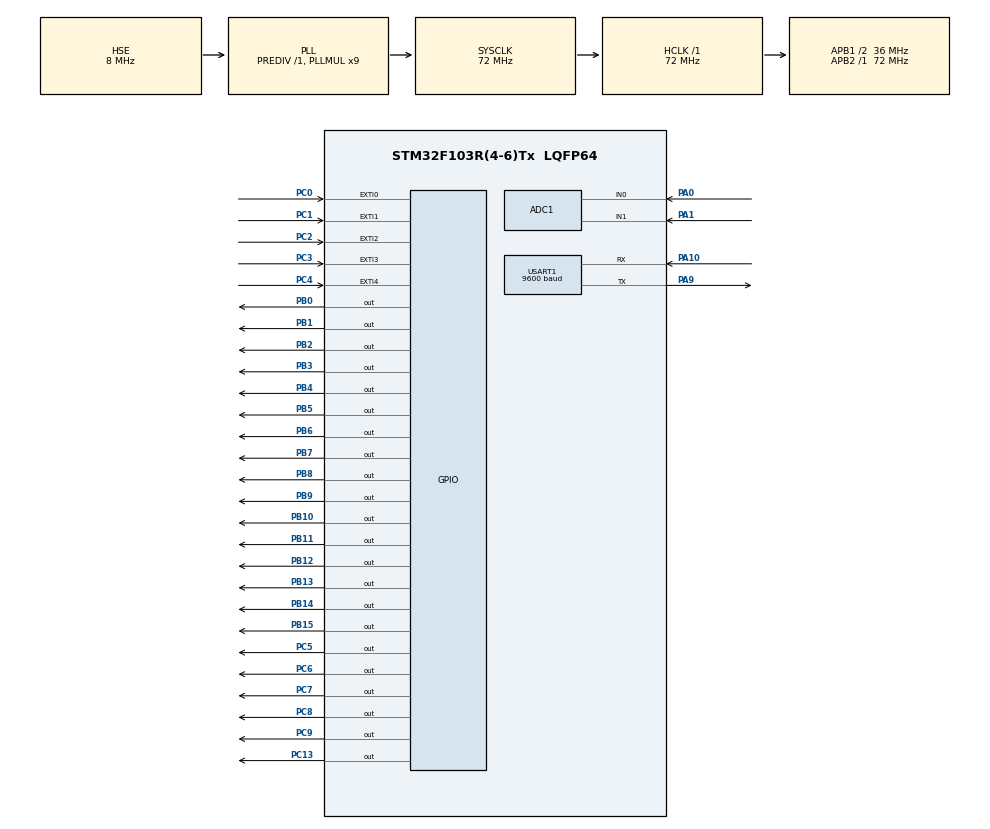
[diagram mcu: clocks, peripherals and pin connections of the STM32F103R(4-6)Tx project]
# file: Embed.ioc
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ADC1.Channel-1\#ChannelRegularConversion=ADC_CHANNEL_0
ADC1.Channel-2\#ChannelRegularConversion=ADC_CHANNEL_1
ADC1.ContinuousConvMode=DISABLE
ADC1.DiscontinuousConvMode=DISABLE
ADC1.NbrOfConversion=2
ADC1.NbrOfConversionFlag=1
ADC1.Rank-1\#ChannelRegularConversion=1
ADC1.Rank-2\#ChannelRegularConversion=2
ADC1.SamplingTime-1\#ChannelRegularConversion=ADC_SAMPLETIME_1CYCLE_5
ADC1.SamplingTime-2\#ChannelRegularConversion=ADC_SAMPLETIME_1CYCLE_5
ADC1.master=1
Dma.ADC1.0.Direction=DMA_PERIPH_TO_MEMORY
Dma.ADC1.0.Instance=DMA1_Channel1
Dma.ADC1.0.MemDataAlignment=DMA_MDATAALIGN_WORD
Dma.ADC1.0.MemInc=DMA_MINC_ENABLE
Dma.ADC1.0.Mode=DMA_CIRCULAR
Dma.ADC1.0.PeriphDataAlignment=DMA_PDATAALIGN_WORD
Dma.ADC1.0.PeriphInc=DMA_PINC_DISABLE
Dma.ADC1.0.Priority=DMA_PRIORITY_MEDIUM
Dma.Request0=ADC1
Mcu.Family=STM32F1
Mcu.Name=STM32F103R(4-6)Tx
Mcu.Package=LQFP64
NVIC.ADC1_2_IRQn=true\:1\:0\:true\:true\:true\:6\:true\:true\:true
NVIC.DMA1_Channel1_IRQn=true\:2\:0\:true\:true\:true\:7\:false\:true\:true
NVIC.EXTI0_IRQn=true\:0\:0\:false\:true\:true\:1\:true\:true\:true
NVIC.EXTI1_IRQn=true\:0\:0\:false\:true\:true\:2\:true\:true\:true
NVIC.EXTI2_IRQn=true\:0\:0\:false\:true\:true\:3\:true\:true\:true
NVIC.EXTI3_IRQn=true\:0\:0\:false\:true\:true\:4\:true\:true\:true
NVIC.EXTI4_IRQn=true\:0\:0\:false\:true\:true\:5\:true\:true\:true
NVIC.PriorityGroup=NVIC_PRIORITYGROUP_4
NVIC.TIM2_IRQn=true\:0\:0\:false\:true\:true\:8\:true\:true\:true
NVIC.TIM3_IRQn=true\:0\:0\:true\:true\:true\:9\:true\:true\:true
NVIC.USART1_IRQn=true\:3\:0\:true\:true\:true\:10\:true\:true\:true
PA0-WKUP.Signal=ADCx_IN0
PA1.Signal=ADCx_IN1
PA10.Mode=Asynchronous
PA10.Signal=USART1_RX
PA13.Mode=Serial_Wire
PA13.Signal=SYS_JTMS-SWDIO
PA14.Mode=Serial_Wire
PA14.Signal=SYS_JTCK-SWCLK
PA9.Mode=Asynchronous
PA9.Signal=USART1_TX
PB0.Signal=GPIO_Output
PB1.Signal=GPIO_Output
PB10.Signal=GPIO_Output
PB11.Signal=GPIO_Output
PB12.Signal=GPIO_Output
PB13.Signal=GPIO_Output
PB14.Signal=GPIO_Output
PB15.Signal=GPIO_Output
PB2.Signal=GPIO_Output
PB3.Signal=GPIO_Output
PB4.Signal=GPIO_Output
PB5.Signal=GPIO_Output
PB6.Signal=GPIO_Output
PB7.Signal=GPIO_Output
PB8.Signal=GPIO_Output
PB9.Signal=GPIO_Output
PC0.GPIO_PuPd=GPIO_PULLDOWN
PC0.Signal=GPXTI0
PC1.GPIO_PuPd=GPIO_PULLDOWN
PC1.Signal=GPXTI1
PC13-TAMPER-RTC.GPIO_PuPd=GPIO_PULLUP
PC13-TAMPER-RTC.Signal=GPIO_Output
PC14-OSC32_IN.Mode=LSE-External-Oscillator
PC14-OSC32_IN.Signal=RCC_OSC32_IN
PC15-OSC32_OUT.Mode=LSE-External-Oscillator
PC15-OSC32_OUT.Signal=RCC_OSC32_OUT
PC2.GPIO_PuPd=GPIO_PULLDOWN
PC2.Signal=GPXTI2
PC3.GPIO_PuPd=GPIO_PULLDOWN
PC3.Signal=GPXTI3
PC4.GPIO_PuPd=GPIO_PULLDOWN
PC4.Signal=GPXTI4
PC5.Signal=GPIO_Output
PC6.Signal=GPIO_Output
PC7.Signal=GPIO_Output
PC8.Signal=GPIO_Output
PC9.Signal=GPIO_Output
PD0-OSC_IN.Mode=HSE-External-Oscillator
PD0-OSC_IN.Signal=RCC_OSC_IN
PD1-OSC_OUT.Mode=HSE-External-Oscillator
PD1-OSC_OUT.Signal=RCC_OSC_OUT
ProjectManager.HeapSize=0x200
ProjectManager.StackSize=0x400
ProjectManager.TargetToolchain=MDK-ARM V5
RCC.ADCPresc=RCC_ADCPCLK2_DIV8
RCC.AHBFreq_Value=72000000
RCC.APB1CLKDivider=RCC_HCLK_DIV2
RCC.APB1Freq_Value=36000000
RCC.APB1TimFreq_Value=72000000
RCC.APB2Freq_Value=72000000
RCC.APB2TimFreq_Value=72000000
RCC.HCLKFreq_Value=72000000
RCC.PLLMUL=RCC_PLL_MUL9
RCC.PLLSourceVirtual=RCC_PLLSOURCE_HSE
RCC.SYSCLKFreq_VALUE=72000000
RCC.SYSCLKSource=RCC_SYSCLKSOURCE_PLLCLK
RCC.USBFreq_Value=72000000
SH.ADCx_IN0.0=ADC1_IN0,IN0
SH.ADCx_IN1.0=ADC1_IN1,IN1
TIM2.AutoReloadPreload=TIM_AUTORELOAD_PRELOAD_DISABLE
TIM2.Period=2250-1
TIM2.Prescaler=125-1
TIM3.Period=1000-1
TIM3.Prescaler=72-1
USART1.BaudRate=9600
USART1.VirtualMode=VM_ASYNC
VP_TIM2_VS_ClockSourceINT.Mode=Internal
VP_TIM3_VS_ClockSourceINT.Mode=Internal
board=custom

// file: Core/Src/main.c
/* USER CODE BEGIN Header */
/**
  ******************************************************************************
  * @file           : main.c
  * @brief          : Main program body
  ******************************************************************************
  * @attention
  *
  * Copyright (c) 2023 STMicroelectronics.
  * All rights reserved.
  *
  * This software is licensed under terms that can be found in the LICENSE file
  * in the root directory of this software component.
  * If no LICENSE file comes with this software, it is provided AS-IS.
  *
  ******************************************************************************
  */
/* USER CODE END Header */
#include "main.h"
#include "adc.h"
#include "dma.h"
#include "tim.h"
#include "usart.h"
#include "gpio.h"

/* USER CODE BEGIN Includes */
#include "lcd.h"
#include "lcd_gui.h"
#include "test.h"
#include "bsp_adc.h"
#include "bsp_usart.h"
#include "stdio.h"
#include "bsp_tim.h"
#include "app_task.h"
#include "bsp_key.h"
#include "func.h"
/* USER CODE END Includes */

void SystemClock_Config(void);
static void MX_NVIC_Init(void);

int main(void)
{

  /* MCU Configuration--------------------------------------------------------*/

  /* Reset of all peripherals, Initializes the Flash interface and the Systick. */
  HAL_Init();

  /* Configure the system clock */
  SystemClock_Config();

  /* Initialize all configured peripherals */
  MX_GPIO_Init();
  MX_DMA_Init();
  MX_ADC1_Init();
  MX_TIM3_Init();
  MX_USART1_UART_Init();
  MX_TIM2_Init();

  /* Initialize interrupts */
  MX_NVIC_Init();
  /* USER CODE BEGIN 2 */
	LCD_Init();
	tim2_init();
	tim3_init();
	key_init();
//	adc_sample();
  /* USER CODE END 2 */

  /* Infinite loop */
  while (1)
  {

    /* USER CODE BEGIN 3 */
	  if(TaskList.Task_led_toggle == led_toggle_start)
	  {
//		 led_toggle();
		 TaskList.Task_led_toggle = led_toggle_stop;
	  }

	  if(TaskList.Task_adc_sample == adc_sample_start)
	  {
		 DMA_get_adc_val();
		 LCD_ShowString(0,0,16,"Sample Numbers:",0);
   	     LCD_ShowNum(120,0,adc_sample_pos,4,16);
	  }

	  if(TaskList.Task_adc_fft == adc_fft_start)
	  {
//	     adc_sample2();
     	 adc_load_fft_data(get_key_status(1));
		 TaskList.Task_adc_fft = adc_fft_stop;
	  }

	  if(TaskList.Task_fft_display == fft_display_start)
	  {
//		 time_diplay();
		 time_wave_display(get_key_status(1));
		 fft_display_spectrum();
		 TaskList.Task_fft_display = fft_display_stop;
	  }

	  if(TaskList.Task_default_display == default_display_start)
	  {
		 show_status();
		 TaskList.Task_default_display = default_display_stop;
	  }

	  if(TaskList.Task_usart_send == usart_send_start)
	  {
		 printf("ADC_VAL0 = %d\r\n",adc_dma_buf[0]);
		 printf("ADC_VAL1 = %d\r\n",adc_dma_buf[1]);
		 TaskList.Task_usart_send = usart_send_stop;
	  }

	  if(TaskList.Task_clean_screen == clean_screen_start)
	  {
		 clean_lcd_screen();
		 TaskList.Task_clean_screen = clean_screen_stop;
	  }

	  if(TaskList.Task_get_measurements == get_measurements_start)
	  {
		 get_measurements_display(get_key_status(1),get_key_status(3));
	  }

//	main_test(); 		//测试主界面
//	Test_Color();  		//简单刷屏填充测试
//	Test_FillRec();		//GUI矩形绘图测试
//	Test_Circle(); 		//GUI画圆测试
//	English_Font_test();//英文字体示例测试
//	Chinese_Font_test();//中文字体示例测试
//	Pic_test();			//图片显示示例测试
  }
  /* USER CODE END 3 */
}

void SystemClock_Config(void)
{
  RCC_OscInitTypeDef RCC_OscInitStruct = {0};
  RCC_ClkInitTypeDef RCC_ClkInitStruct = {0};
  RCC_PeriphCLKInitTypeDef PeriphClkInit = {0};

  /** Initializes the RCC Oscillators according to the specified parameters
  * in the RCC_OscInitTypeDef structure.
  */
  RCC_OscInitStruct.OscillatorType = RCC_OSCILLATORTYPE_HSE;
  RCC_OscInitStruct.HSEState = RCC_HSE_ON;
  RCC_OscInitStruct.HSEPredivValue = RCC_HSE_PREDIV_DIV1;
  RCC_OscInitStruct.HSIState = RCC_HSI_ON;
  RCC_OscInitStruct.PLL.PLLState = RCC_PLL_ON;
  RCC_OscInitStruct.PLL.PLLSource = RCC_PLLSOURCE_HSE;
  RCC_OscInitStruct.PLL.PLLMUL = RCC_PLL_MUL9;
  if (HAL_RCC_OscConfig(&RCC_OscInitStruct) != HAL_OK)
  {
    Error_Handler();
  }

  /** Initializes the CPU, AHB and APB buses clocks
  */
  RCC_ClkInitStruct.ClockType = RCC_CLOCKTYPE_HCLK|RCC_CLOCKTYPE_SYSCLK
                              |RCC_CLOCKTYPE_PCLK1|RCC_CLOCKTYPE_PCLK2;
  RCC_ClkInitStruct.SYSCLKSource = RCC_SYSCLKSOURCE_PLLCLK;
  RCC_ClkInitStruct.AHBCLKDivider = RCC_SYSCLK_DIV1;
  RCC_ClkInitStruct.APB1CLKDivider = RCC_HCLK_DIV2;
  RCC_ClkInitStruct.APB2CLKDivider = RCC_HCLK_DIV1;

  if (HAL_RCC_ClockConfig(&RCC_ClkInitStruct, FLASH_LATENCY_2) != HAL_OK)
  {
    Error_Handler();
  }
  PeriphClkInit.PeriphClockSelection = RCC_PERIPHCLK_ADC;
  PeriphClkInit.AdcClockSelection = RCC_ADCPCLK2_DIV8;
  if (HAL_RCCEx_PeriphCLKConfig(&PeriphClkInit) != HAL_OK)
  {
    Error_Handler();
  }
}

/**
  * @brief NVIC Configuration.
  * @retval None
  */
static void MX_NVIC_Init(void)
{
  /* EXTI0_IRQn interrupt configuration */
  HAL_NVIC_SetPriority(EXTI0_IRQn, 0, 0);
  HAL_NVIC_EnableIRQ(EXTI0_IRQn);
  /* EXTI1_IRQn interrupt configuration */
  HAL_NVIC_SetPriority(EXTI1_IRQn, 0, 0);
  HAL_NVIC_EnableIRQ(EXTI1_IRQn);
  /* EXTI2_IRQn interrupt configuration */
  HAL_NVIC_SetPriority(EXTI2_IRQn, 0, 0);
  HAL_NVIC_EnableIRQ(EXTI2_IRQn);
  /* EXTI3_IRQn interrupt configuration */
  HAL_NVIC_SetPriority(EXTI3_IRQn, 0, 0);
  HAL_NVIC_EnableIRQ(EXTI3_IRQn);
  /* EXTI4_IRQn interrupt configuration */
  HAL_NVIC_SetPriority(EXTI4_IRQn, 0, 0);
  HAL_NVIC_EnableIRQ(EXTI4_IRQn);
  /* ADC1_2_IRQn interrupt configuration */
  HAL_NVIC_SetPriority(ADC1_2_IRQn, 1, 0);
  HAL_NVIC_EnableIRQ(ADC1_2_IRQn);
  /* DMA1_Channel1_IRQn interrupt configuration */
  HAL_NVIC_SetPriority(DMA1_Channel1_IRQn, 2, 0);
  HAL_NVIC_EnableIRQ(DMA1_Channel1_IRQn);
  /* TIM2_IRQn interrupt configuration */
  HAL_NVIC_SetPriority(TIM2_IRQn, 0, 0);
  HAL_NVIC_EnableIRQ(TIM2_IRQn);
  /* TIM3_IRQn interrupt configuration */
  HAL_NVIC_SetPriority(TIM3_IRQn, 0, 0);
  HAL_NVIC_EnableIRQ(TIM3_IRQn);
  /* USART1_IRQn interrupt configuration */
  HAL_NVIC_SetPriority(USART1_IRQn, 3, 0);
  HAL_NVIC_EnableIRQ(USART1_IRQn);
}

void Error_Handler(void)
{
  __disable_irq();
  while (1)
  {
  }
}
